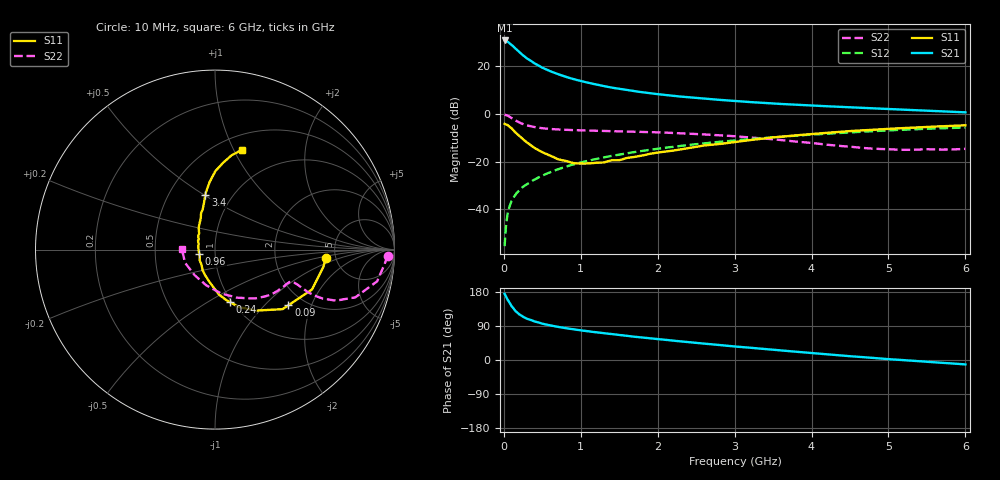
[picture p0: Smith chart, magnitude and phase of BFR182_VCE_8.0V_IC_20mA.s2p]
! Infineon Technologies  Discrete & RF Semiconductors
! BFR182
! VCE =  8.0 V,  IC =  20 mA
! Common Emitter S-Parameters:  Nov 2015
# GHz  S  MA  R  50
!  f  S11  S21  S12  S22
! GHz  MAG  ANG  MAG  ANG  MAG  ANG  MAG  ANG
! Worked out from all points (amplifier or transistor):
!   210 points, 10 MHz to 6 GHz, reference 50 ohm
!   highest |S21| = 30.7 dB at 10 MHz (marker M1)
!   |S21| within 3 dB of that: start of sweep to 138.5 MHz
!   unconditionally stable (mu >= 1): 633 MHz to 2.663 GHz
!   at 185 MHz: K = 0.66, MSG = 29.4 dB, |S12| = -32.5 dB
!   at 1.52 GHz: K = 1.04, MAG = 12.4 dB, |S12| = -16.9 dB
!   at 6 GHz: K = 0.90, MSG = 3.2 dB, |S12| = -5.7 dB
!   S11 on the Smith chart (normalised r, x): 10 MHz: 4.13, -0.65; 90 MHz: 1.65, -1.39; 240 MHz: 0.98, -0.63; 960 MHz: 0.84, -0.04; 3.4 GHz: 0.75, +0.51; 6 GHz: 0.65, +1.08
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0.01  0.6184 -4.5  34.47 174.6  0.0017 94.9  0.964 -2.0
0.02  0.6115 -9.1  33.96 170.5  0.003 87.1  0.9506 -4.5
0.05  0.5843 -22.4  32.56 158.9  0.0083 80.3  0.92 -11.1
0.09  0.5134 -37.2  28.73 145.9  0.0137 74.4  0.8433 -17.1
0.1  0.5019 -41.4  28.04 142.2  0.015 73.6  0.8258 -18.8
0.15  0.4092 -56.2  23.47 129.2  0.0203 71.0  0.7309 -22.9
0.2  0.3479 -67.1  19.76 120.4  0.0251 71.3  0.6611 -24.4
0.24  0.3045 -74.2  17.34 115.4  0.0289 70.3  0.6204 -24.7
0.3  0.2523 -84.8  14.52 108.8  0.0337 70.9  0.5738 -24.7
0.4  0.193 -96.8  11.41 101.7  0.0423 71.6  0.5274 -23.7
0.5  0.1577 -109.1  9.274 95.8  0.051 72.7  0.4996 -23.0
0.6  0.1354 -120.4  7.862 91.4  0.0598 72.7  0.4836 -22.7
0.7  0.113 -132.1  6.819 87.5  0.0689 72.6  0.4717 -22.6
0.96  0.0916 -163.1  5.071 79.3  0.0923 72.0  0.4541 -23.5
1.02  0.091 -171.1  4.794 77.7  0.0975 71.7  0.451 -23.9
1.4  0.1071 152.0  3.554 68.4  0.1317 69.2  0.4365 -27.7
2.02  0.1566 125.1  2.568 54.9  0.1883 64.1  0.4104 -35.8
3.1  0.2698 103.1  1.813 34.1  0.2871 53.2  0.3301 -55.3
3.4  0.3084 100.0  1.687 28.8  0.3144 49.9  0.3023 -62.7
4.1  0.3898 93.4  1.471 16.7  0.3765 41.9  0.236 -85.7
5.1  0.4958 83.6  1.247 1.0  0.459 29.8  0.1789 -133.8
6  0.5767 74.8  1.077 -11.6  0.5175 17.9  0.1855 178.4
